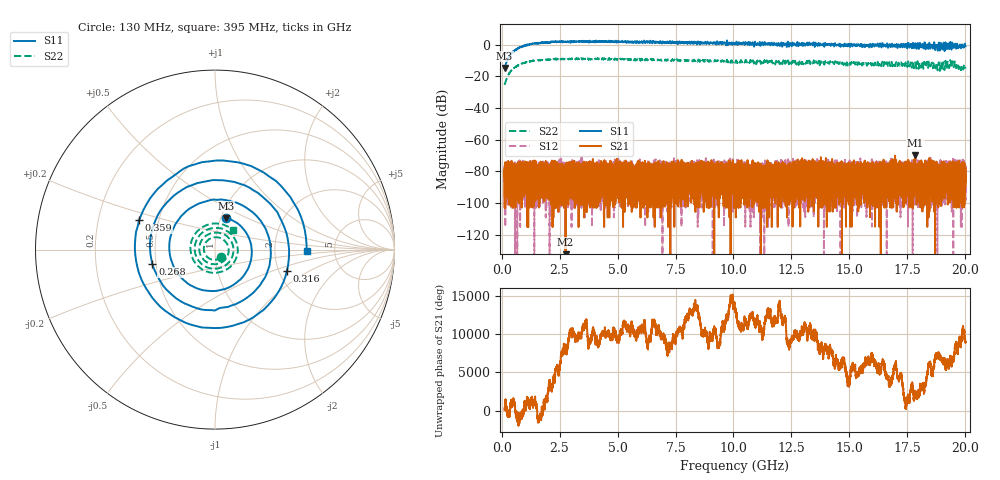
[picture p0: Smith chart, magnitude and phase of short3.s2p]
!Created with skrf (http://scikit-rf.org).
# GHz S RI R 50.0
!freq ReS11 ImS11 ReS21 ImS21 ReS12 ImS12 ReS22 ImS22
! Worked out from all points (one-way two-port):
!   20013 points, 130 MHz to 20 GHz, reference 50 ohm
!   highest |S21| = -69.59 dB at 17.84 GHz (marker M1); lowest = -178.6 dB at 2.758 GHz (marker M2)
!   lowest |S11| = -14.6 dB at 130 MHz (marker M3), VSWR 1.46, Z = 52.8 + j19.2 ohm
!   |S11| at or under -10 dB: start of sweep to 232.9 MHz; 233.732 MHz to 234.0677 MHz (335.7 kHz wide, 0.144 % of centre)
!   |S22| runs from -25.3 to -8.4 dB; largest |S21 - S12| = 0.00042
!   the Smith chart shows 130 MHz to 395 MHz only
!   S11 on the Smith chart (normalised r, x): 130 MHz: 1.06, +0.38; 268 MHz: 0.48, -0.09; 316 MHz: 2.21, -0.64; 359 MHz: 0.39, +0.16; 395 MHz: 3.09, -0.06
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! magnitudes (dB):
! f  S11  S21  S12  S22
! 130 MHz  -14.6  -80.0  -79.4  -25.3
! 268 MHz  -8.9  -82.6  -80.9  -19.6
! 316 MHz  -7.6  -85.0  -75.9  -18.4
! 359 MHz  -6.9  -81.3  -82.1  -17.6
! 395 MHz  -5.8  -82.1  -79.2  -16.6
! 724 MHz  -2.2  -84.3  -82.7  -12.8
! 1.278 GHz  0.6  -85.5  -83.2  -10.3
! 2.758 GHz  2.1  -178.6  -76.0  -9.0
! 3.442 GHz  2.0  -83.1  -103.0  -8.5
! 6.754 GHz  1.4  -81.4  -75.9  -9.5
! 10.06 GHz  0.3  -87.3  -86.1  -11.3
! 12.9 GHz  0.2  -91.1  -77.9  -12.3
! 13.38 GHz  0.8  -79.8  -84.3  -10.5
! 16.69 GHz  -0.2  -82.5  -78.6  -12.1
! 17.84 GHz  1.0  -69.6  -80.0  -11.2
! 18.5 GHz  -1.9  -79.6  -88.0  -13.5
! 18.9 GHz  -3.3  -90.4  -78.5  -16.4
! 19.4 GHz  -2.9  -80.1  -93.9  -14.4
! 19.45 GHz  0.9  -88.6  -95.9  -10.4
! 19.6 GHz  -2.4  -77.4  -76.6  -14.7
! 19.76 GHz  -0.1  -78.8  -82.6  -12.7
! 20 GHz  -0.9  -84.8  -84.8  -15.1
